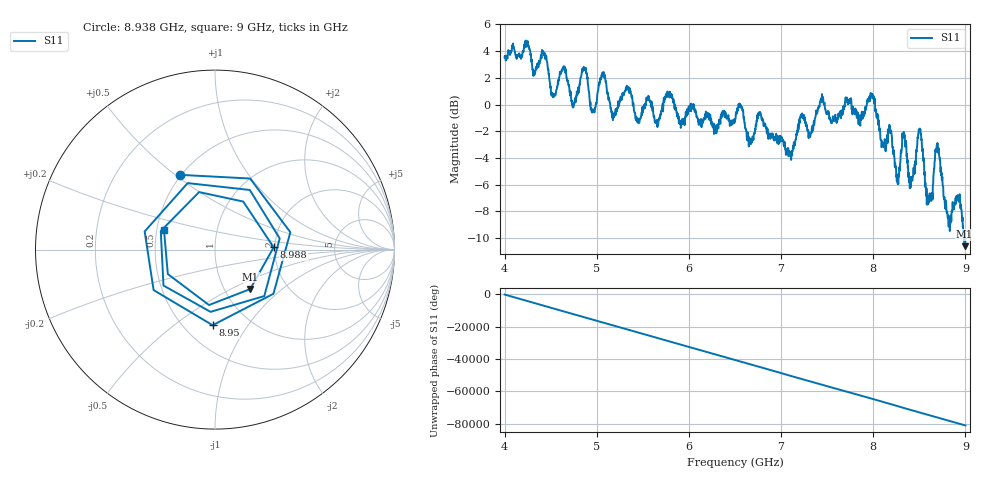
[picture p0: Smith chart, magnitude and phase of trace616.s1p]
! Created with skrf 1.8.0 (http://scikit-rf.org).
# Hz S RI R 50.0
!freq ReS11 ImS11
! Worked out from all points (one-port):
!   1601 points, 4 GHz to 9 GHz, reference 50 ohm
!   lowest |S11| = -10.6 dB at 8.991 GHz (marker M1), VSWR 1.84, Z = 65.7 - j31.7 ohm
!   |S11| at or under -10 dB: 8.983195 GHz to 8.985415 GHz (2.22 MHz wide, 0.0247 % of centre); 8.988969 GHz to end of sweep
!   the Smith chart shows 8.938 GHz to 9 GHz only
!   S11 on the Smith chart (normalised r, x): 8.938 GHz: 0.49, +0.52; 8.95 GHz: 0.68, -0.70; 8.988 GHz: 1.97, +0.06; 9 GHz: 0.55, +0.13
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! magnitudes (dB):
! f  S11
! 4 GHz  3.5
! 4.428 GHz  3.7
! 4.531 GHz  0.7
! 4.625 GHz  2.6
! 4.747 GHz  -0.2
! 4.862 GHz  2.7
! 4.953 GHz  -0.4
! 5.062 GHz  2.4
! 5.25 GHz  0.4
! 5.875 GHz  -0.6
! 6.5 GHz  -1.2
! 7.125 GHz  -3.5
! 7.222 GHz  -0.8
! 7.75 GHz  0.3
! 7.991 GHz  0.8
! 8.256 GHz  -5.8
! 8.334 GHz  -2.1
! 8.375 GHz  -4.7
! 8.422 GHz  -5.6
! 8.503 GHz  -2.0
! 8.6 GHz  -7.0
! 8.697 GHz  -2.9
! 8.822 GHz  -8.7
! 8.938 GHz  -6.7
! 8.95 GHz  -7.5
! 8.988 GHz  -9.7
! 8.991 GHz  -10.6
! 9 GHz  -10.3
